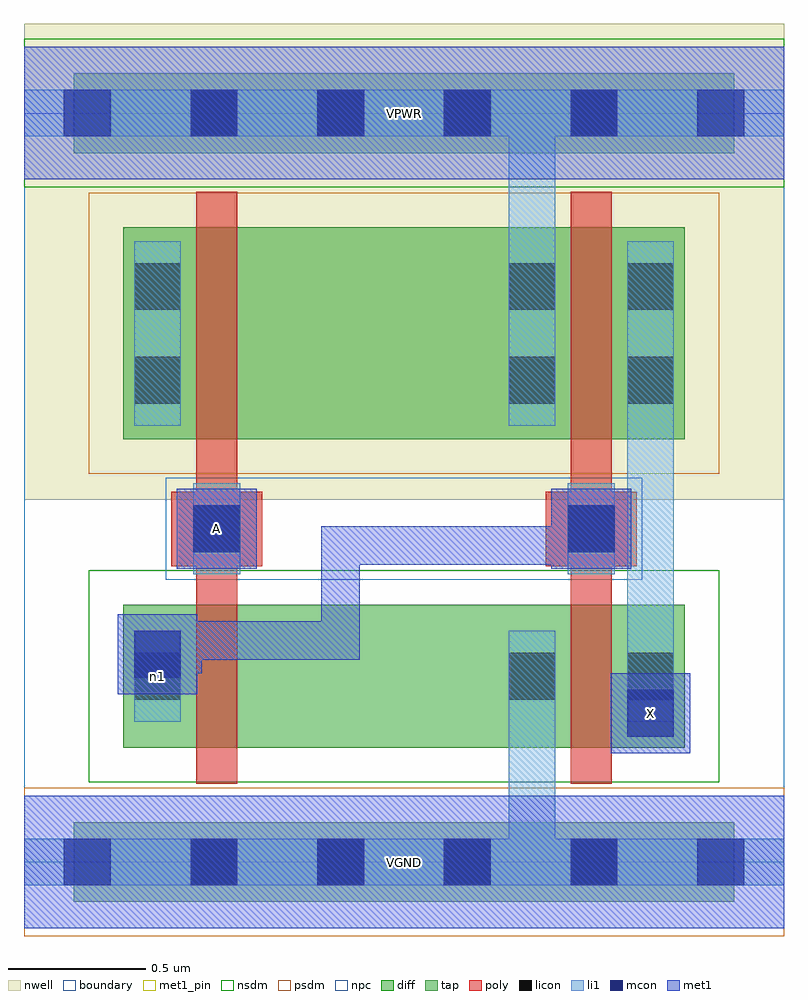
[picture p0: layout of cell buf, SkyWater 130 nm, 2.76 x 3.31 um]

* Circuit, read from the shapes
.subckt buf A VGND VPWR X n1
XM1 VGND A n1 VGND sky130_fd_pr__nfet_01v8 w=0.52 l=0.15
XM2 X n1 VGND VGND sky130_fd_pr__nfet_01v8 w=0.52 l=0.15
XM3 VPWR A n2 VPWR sky130_fd_pr__pfet_01v8 w=0.77 l=0.15
XM4 X n1 VPWR VPWR sky130_fd_pr__pfet_01v8 w=0.77 l=0.15
.ends

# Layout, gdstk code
import gdstk
lib = gdstk.Library(unit=1e-6, precision=1e-09)
def R(c, l, rs):  # rectangles x0, y0, x1, y1
    for r in rs: c.add(gdstk.rectangle(r[:2], r[2:], *l))
def A(c, l, x, y, w, h, nx, ny, dx, dy):  # array of equal rectangles
    R(c, l, [(x+i*dx, y+j*dy, x+i*dx+w, y+j*dy+h) for i in range(nx) for j in range(ny)])
nwell = (64, 20)
diff = (65, 20)
tap = (65, 44)
poly = (66, 20)
licon = (66, 44)
li1 = (67, 20)
mcon = (67, 44)
met1_pin = (68, 16)
met1 = (68, 20)
nsdm = (93, 44)
psdm = (94, 20)
npc = (95, 20)
boundary = (235, 4)

buf = lib.new_cell('buf')
R(buf, nwell, [(0,1.315,2.76,3.045)])
R(buf, diff, [(0.36,0.415,2.4,0.935), (0.36,1.535,2.4,2.305)])
R(buf, tap, [(0.18,-0.145,2.58,0.145), (0.18,2.575,2.58,2.865)])
R(buf, poly, [(0.625,0.285,0.775,2.435), (1.985,0.285,2.135,2.435), (0.535,1.075,0.865,1.345), (1.895,1.075,2.225,1.345)])
A(buf, licon, 0.605, -0.085, 0.17, 0.17, 4, 2, 0.46, 2.72)
R(buf, licon, [(0.4,0.59,0.57,0.76), (1.76,0.59,1.93,0.76), (2.19,0.59,2.36,0.76), (0.615,1.125,0.785,1.295), (1.975,1.125,2.145,1.295), (0.4,1.665,0.57,1.835), (1.76,1.665,1.93,1.835), (2.19,1.665,2.36,1.835), (0.4,2.005,0.57,2.175), (1.76,2.005,1.93,2.175), (2.19,2.005,2.36,2.175)])
R(buf, li1, [(0,-0.085,2.76,0.085), (1.76,-0.085,1.93,0.84), (0.4,0.51,0.57,0.84), (1.76,0.51,1.93,0.84), (2.19,0.51,2.36,0.84), (2.19,0.51,2.36,2.255), (0.615,1.045,0.785,1.375), (1.975,1.045,2.145,1.375), (0.4,1.585,0.57,2.255), (1.76,1.585,1.93,2.255), (1.76,1.585,1.93,2.805), (2.19,1.585,2.36,2.255), (0,2.635,2.76,2.805)])
A(buf, mcon, 0.145, -0.085, 0.17, 0.17, 6, 2, 0.46, 2.72)
R(buf, mcon, [(2.19,0.455,2.36,0.625), (0.4,0.67,0.57,0.84), (0.615,1.125,0.785,1.295), (1.975,1.125,2.145,1.295)])
R(buf, met1_pin, [(0,-0.24,2.76,0.24), (2.13,0.395,2.42,0.685), (0.555,1.065,0.845,1.355), (0,2.48,2.76,2.96)])
R(buf, met1, [(0,-0.24,2.76,0.24), (2.13,0.395,2.42,0.685), (0.34,0.61,0.63,0.9), (0.415,0.685,0.645,0.825), (0.505,0.685,0.645,0.875), (0.505,0.735,1.22,0.875), (1.08,0.735,1.22,1.22), (0.555,1.065,0.845,1.355), (1.915,1.065,2.205,1.355), (1.08,1.08,2.14,1.22), (2,1.08,2.14,1.22), (0,2.48,2.76,2.96)])
R(buf, nsdm, [(0.235,0.29,2.525,1.06), (0,2.45,2.76,2.99)])
R(buf, psdm, [(0,-0.27,2.76,0.27), (0.235,1.41,2.525,2.43)])
R(buf, npc, [(0.515,1.025,2.245,1.395)])
R(buf, boundary, [(0,0,2.76,2.72)])
buf.add(gdstk.Label('n1', (0.485,0.675), layer=67, texttype=5))
buf.add(gdstk.Label('A', (0.7,1.21), layer=68, texttype=5))
buf.add(gdstk.Label('X', (2.275,0.54), layer=68, texttype=5))
buf.add(gdstk.Label('VPWR', (1.38,2.72), layer=68, texttype=5))
buf.add(gdstk.Label('VGND', (1.38,0), layer=68, texttype=5))
buf.add(gdstk.Label('A', (0.7,1.21), layer=68, texttype=16))
buf.add(gdstk.Label('X', (2.275,0.54), layer=68, texttype=16))
buf.add(gdstk.Label('VPWR', (1.38,2.72), layer=68, texttype=16))
buf.add(gdstk.Label('VGND', (1.38,0), layer=68, texttype=16))

lib.write_gds('buf.gds')
